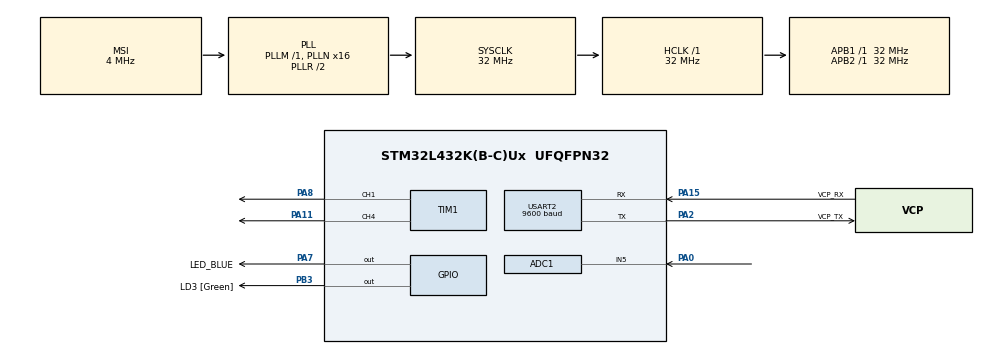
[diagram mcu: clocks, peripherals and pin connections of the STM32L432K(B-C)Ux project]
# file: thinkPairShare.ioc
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ADC1.Channel-0\#ChannelRegularConversion=ADC_CHANNEL_5
ADC1.NbrOfConversionFlag=1
ADC1.OffsetNumber-0\#ChannelRegularConversion=ADC_OFFSET_NONE
ADC1.Rank-0\#ChannelRegularConversion=1
ADC1.SamplingTime-0\#ChannelRegularConversion=ADC_SAMPLETIME_2CYCLES_5
ADC1.master=1
Mcu.Family=STM32L4
Mcu.Name=STM32L432K(B-C)Ux
Mcu.Package=UFQFPN32
NVIC.PriorityGroup=NVIC_PRIORITYGROUP_4
PA0-CK_IN.Signal=ADCx_IN5
PA11.Signal=S_TIM1_CH4
PA13\ (JTMS-SWDIO).GPIO_Label=SWDIO
PA13\ (JTMS-SWDIO).Signal=SYS_JTMS-SWDIO
PA14\ (JTCK-SWCLK).GPIO_Label=SWCLK
PA14\ (JTCK-SWCLK).Signal=SYS_JTCK-SWCLK
PA15\ (JTDI).GPIO_Label=VCP_RX
PA15\ (JTDI).Mode=Asynchronous
PA15\ (JTDI).Signal=USART2_RX
PA2.GPIO_Label=VCP_TX
PA2.Mode=Asynchronous
PA2.Signal=USART2_TX
PA7.GPIO_Label=LED_BLUE
PA7.Signal=GPIO_Output
PA8.Signal=S_TIM1_CH1
PB3\ (JTDO-TRACESWO).GPIO_Label=LD3 [Green]
PB3\ (JTDO-TRACESWO).Signal=GPIO_Output
PC14-OSC32_IN\ (PC14).Signal=RCC_OSC32_IN
PC15-OSC32_OUT\ (PC15).Signal=RCC_OSC32_OUT
ProjectManager.HeapSize=0x200
ProjectManager.StackSize=0x400
ProjectManager.TargetToolchain=TrueSTUDIO
RCC.ADCFreq_Value=32000000
RCC.AHBFreq_Value=32000000
RCC.APB1Freq_Value=32000000
RCC.APB1TimFreq_Value=32000000
RCC.APB2Freq_Value=32000000
RCC.APB2TimFreq_Value=32000000
RCC.CortexFreq_Value=32000000
RCC.HCLKFreq_Value=32000000
RCC.HSE_VALUE=8000000
RCC.HSI16_VALUE=16000000
RCC.HSI48_VALUE=48000000
RCC.HSI_VALUE=16000000
RCC.LSE_VALUE=32768
RCC.MSI_VALUE=4000000
RCC.PLLMUL=RCC_PLLMUL_4
RCC.PLLN=16
RCC.PLLSAI1N=16
RCC.SYSCLKFreq_VALUE=32000000
RCC.SYSCLKSource=RCC_SYSCLKSOURCE_PLLCLK
RCC.USBFreq_Value=32000000
RCC.VCOOutputFreq_Value=64000000
SH.ADCx_IN5.0=ADC1_IN5,IN5-Single-Ended
SH.S_TIM1_CH1.0=TIM1_CH1,PWM Generation1 CH1
SH.S_TIM1_CH4.0=TIM1_CH4,PWM Generation4 CH4
TIM1.Channel-PWM\ Generation1\ CH1=TIM_CHANNEL_1
TIM1.Channel-PWM\ Generation4\ CH4=TIM_CHANNEL_4
USART2.BaudRate=9600
USART2.VirtualMode-Asynchronous=VM_ASYNC
USART2.WordLength=WORDLENGTH_8B
board=NUCLEO-L432KC

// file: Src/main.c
/*
 *  FILE          : main.c
 *  PROJECT       : Assignment3
 *  PROGRAMMER    : Manu Murali Student
 *  FIRST VERSION : 2017-07-06
 *  DESCRIPTION   :
 *    Temperature sensor MCP7000A is used to measure the temperature and
 *    display the temperature with one decimal point in the top right corner
 *    of the LCD. It also illuminate RGB LED with the specified color for
 *    the given temperature ranges.
 *    -15 C  to 5.0 C   blue
 *    5.1 C to 15.0 C   yellow
 *    15.1 C to 25 C    orange
 *    Above 21.5 C 	   red
 */

#include "main.h"
#include "stm32l4xx_hal.h"

/* USER CODE BEGIN Includes */
#include "string.h"
#include "stdio.h"
#include "time.h"
/* USER CODE END Includes */

ADC_HandleTypeDef hadc1;

TIM_HandleTypeDef htim1;

UART_HandleTypeDef huart2;

/* USER CODE BEGIN PV */
/* Private variables ---------------------------------------------------------*/

/* USER CODE END PV */

void SystemClock_Config(void);
void Error_Handler(void);
static void MX_GPIO_Init(void);
static void MX_ADC1_Init(void);
static void MX_USART2_UART_Init(void);
static void MX_TIM1_Init(void);
void HAL_TIM_MspPostInit(TIM_HandleTypeDef *htim);

/* USER CODE BEGIN PFP */
/* Private function prototypes -----------------------------------------------*/
void HD44780_Init(void);
void HD44780_PutChar(unsigned char c);
void HD44780_PutStr(char *str);
void HD44780_GotoXY(unsigned char x, unsigned char y);
void HD44780_ClrScr(void);
void HD44780_GotoXY(unsigned char x, unsigned char y);
void redLedON();
void yellowLedON();
void orangeLedON();
void blueLedON();
void displayTemperatureInLCD(float);
void startTimer();
float measureTemperature();
/* USER CODE END PFP */

/* USER CODE BEGIN 0 */

//
// FUNCTION      : redLedON()
// DESCRIPTION   :
//	This function will illuminate red LED
// PARAMETERS    :
//	Nothing
// RETURNS       :
//	Nothing
//
void redLedON()
{
	// blue led OFF
	HAL_GPIO_WritePin(LED_BLUE_GPIO_Port, LED_BLUE_Pin, GPIO_PIN_RESET);
	// red led ON
	__HAL_TIM_SET_COMPARE(&htim1, TIM_CHANNEL_4, 60000);
	// green led OFF
	__HAL_TIM_SET_COMPARE(&htim1, TIM_CHANNEL_1, 000);
}

//
// FUNCTION      : orangeLedON()
// DESCRIPTION   :
//	This function will illuminate orange LED
// PARAMETERS    :
//	Nothing
// RETURNS       :
//	Nothing
//
void orangeLedON()
{
	// blue led OFF
	HAL_GPIO_WritePin(LED_BLUE_GPIO_Port, LED_BLUE_Pin, GPIO_PIN_RESET);
	// adjusting voltage of red led
	__HAL_TIM_SET_COMPARE(&htim1, TIM_CHANNEL_4, 50000);
	// adjusting voltage of green led
	__HAL_TIM_SET_COMPARE(&htim1, TIM_CHANNEL_1, 2500);
}

//
// FUNCTION      : yellowLedON()
// DESCRIPTION   :
//	This function will illuminate yellow LED
// PARAMETERS    :
//	Nothing
// RETURNS       :
//	Nothing
//
void yellowLedON()
{
	// blue led OFF
	HAL_GPIO_WritePin(LED_BLUE_GPIO_Port, LED_BLUE_Pin, GPIO_PIN_RESET);
	// adjusting voltage of red led
	__HAL_TIM_SET_COMPARE(&htim1, TIM_CHANNEL_4, 30000);
	// adjusting voltage of green led
	__HAL_TIM_SET_COMPARE(&htim1, TIM_CHANNEL_1, 6000);
}

//
// FUNCTION      : blueLedON()
// DESCRIPTION   :
//	This function will illuminate blue LED
// PARAMETERS    :
//	Nothing
// RETURNS       :
//	Nothing
//
void blueLedON()
{
	// red led OFF
	__HAL_TIM_SET_COMPARE(&htim1, TIM_CHANNEL_4, 000);
	// green led OFF
	__HAL_TIM_SET_COMPARE(&htim1, TIM_CHANNEL_1, 000);
	// blue led ON
	HAL_GPIO_WritePin(LED_BLUE_GPIO_Port, LED_BLUE_Pin, GPIO_PIN_SET);
}

//
// FUNCTION      : displayTemperatureInLCD()
// DESCRIPTION   :
//	This function will display the temperature in the top right corner of LCD
// PARAMETERS    :
//	float		 : Temperature measured using the sensor
// RETURNS       :
//	Nothing
//
void displayTemperatureInLCD(float temperature)
{
	// initializing a default value for stringToDisplay
	char stringToDisplay[16] = "0";
	// converting temperature to string format
	sprintf(stringToDisplay, "% 2.1f\337C", temperature);
	// StringSize: store the size of the string to be displayed on LCD
	// default value chosen as 0
	uint8_t StringSize = 0;
	// calculating the size of the string
	while(stringToDisplay[StringSize] != '\0')
	{
		StringSize++;
	}
	// bringing the cursor to the top right corner of the LCD
	HD44780_GotoXY(16-StringSize, 0);
	// display the temperature in top right corner of LCD
	HD44780_PutStr(stringToDisplay);

}

//
// FUNCTION      : startTimer()
// DESCRIPTION   :
//	This function will start the timer1 channel-4 and channel-1
// PARAMETERS    :
//	Nothing
// RETURNS       :
//	Nothing
//
void startTimer()
{
	HAL_TIM_PWM_Start(&htim1, TIM_CHANNEL_4);
	HAL_TIM_PWM_Start(&htim1, TIM_CHANNEL_1);
}

//
// FUNCTION      : measureTemperature()
// DESCRIPTION   :
//	This function will measure the temperature using the value received
//  from ADC
// PARAMETERS    :
//	Nothing
// RETURNS       :
//	float		 : temperature, the measured temperature
//
float measureTemperature()
{
	// variable declaration and initialization
	uint16_t ADCValue = 0;
	float VoltageValue = 0.0;
	float temperature = 0.0;
	// read value of ADC which corresponds to the temperature sensor output
	ADCValue = HAL_ADC_GetValue(&hadc1);
	// computes the voltage value corresponding to the received ADC value
	VoltageValue = (ADCValue *3.3) / 4095;
	// computes the temperature using voltage
	temperature = (VoltageValue - 0.5) /0.010;
	return temperature;
}
/* USER CODE END 0 */

int main(void)
{
	/* USER CODE BEGIN 1 */
	// default value chosen as 0.0
	float temperature = 0.0;

	/* USER CODE END 1 */

	/* MCU Configuration----------------------------------------------------------*/

	/* Reset of all peripherals, Initializes the Flash interface and the Systick. */
	HAL_Init();

	/* Configure the system clock */
	SystemClock_Config();

	/* Initialize all configured peripherals */
	MX_GPIO_Init();
	MX_ADC1_Init();
	MX_USART2_UART_Init();
	MX_TIM1_Init();

	/* USER CODE BEGIN 2 */
	HD44780_Init();
	startTimer();

	/* USER CODE END 2 */

	/* Infinite loop */
	while (1)
	{

		/* USER CODE BEGIN 3 */
		// calibrating ADC
		HAL_ADCEx_Calibration_Start(&hadc1,ADC_SINGLE_ENDED);

		if(HAL_ADC_Start(&hadc1) != HAL_OK)
		{
			printf("\r\nError in ADC Start \r\n");
		}
		if(HAL_ADC_PollForConversion(&hadc1, 10))
		{
			printf("\r\nError in ADC Timeout \r\n");
		}
		else
		{
			// read the ADC value and measures the temperature
			temperature = measureTemperature();
		}
		// display the measured temperature value in LCD
		displayTemperatureInLCD(temperature);
		// checking the range at which the measured temperature lies and
		// illuminate the required color in LED based on the temperature
		// measured using the sensor
		if(temperature > 25.0)
		{
			redLedON();
		}
		else if(temperature > 15.0)
		{
			orangeLedON();
		}
		else if(temperature > 5.0)
		{
			yellowLedON();
		}
		else
		{
			blueLedON();
		}
	}
	/* USER CODE END 3 */
}

/** System Clock Configuration
 */
void SystemClock_Config(void)
{

	RCC_OscInitTypeDef RCC_OscInitStruct;
	RCC_ClkInitTypeDef RCC_ClkInitStruct;
	RCC_PeriphCLKInitTypeDef PeriphClkInit;

	/**Initializes the CPU, AHB and APB busses clocks
	 */
	RCC_OscInitStruct.OscillatorType = RCC_OSCILLATORTYPE_MSI;
	RCC_OscInitStruct.MSIState = RCC_MSI_ON;
	RCC_OscInitStruct.MSICalibrationValue = 0;
	RCC_OscInitStruct.MSIClockRange = RCC_MSIRANGE_6;
	RCC_OscInitStruct.PLL.PLLState = RCC_PLL_ON;
	RCC_OscInitStruct.PLL.PLLSource = RCC_PLLSOURCE_MSI;
	RCC_OscInitStruct.PLL.PLLM = 1;
	RCC_OscInitStruct.PLL.PLLN = 16;
	RCC_OscInitStruct.PLL.PLLP = RCC_PLLP_DIV7;
	RCC_OscInitStruct.PLL.PLLQ = RCC_PLLQ_DIV2;
	RCC_OscInitStruct.PLL.PLLR = RCC_PLLR_DIV2;
	if (HAL_RCC_OscConfig(&RCC_OscInitStruct) != HAL_OK)
	{
		Error_Handler();
	}

	/**Initializes the CPU, AHB and APB busses clocks
	 */
	RCC_ClkInitStruct.ClockType = RCC_CLOCKTYPE_HCLK|RCC_CLOCKTYPE_SYSCLK
			|RCC_CLOCKTYPE_PCLK1|RCC_CLOCKTYPE_PCLK2;
	RCC_ClkInitStruct.SYSCLKSource = RCC_SYSCLKSOURCE_PLLCLK;
	RCC_ClkInitStruct.AHBCLKDivider = RCC_SYSCLK_DIV1;
	RCC_ClkInitStruct.APB1CLKDivider = RCC_HCLK_DIV1;
	RCC_ClkInitStruct.APB2CLKDivider = RCC_HCLK_DIV1;

	if (HAL_RCC_ClockConfig(&RCC_ClkInitStruct, FLASH_LATENCY_1) != HAL_OK)
	{
		Error_Handler();
	}

	PeriphClkInit.PeriphClockSelection = RCC_PERIPHCLK_USART2|RCC_PERIPHCLK_ADC;
	PeriphClkInit.Usart2ClockSelection = RCC_USART2CLKSOURCE_PCLK1;
	PeriphClkInit.AdcClockSelection = RCC_ADCCLKSOURCE_PLLSAI1;
	PeriphClkInit.PLLSAI1.PLLSAI1Source = RCC_PLLSOURCE_MSI;
	PeriphClkInit.PLLSAI1.PLLSAI1M = 1;
	PeriphClkInit.PLLSAI1.PLLSAI1N = 16;
	PeriphClkInit.PLLSAI1.PLLSAI1P = RCC_PLLP_DIV7;
	PeriphClkInit.PLLSAI1.PLLSAI1Q = RCC_PLLQ_DIV2;
	PeriphClkInit.PLLSAI1.PLLSAI1R = RCC_PLLR_DIV2;
	PeriphClkInit.PLLSAI1.PLLSAI1ClockOut = RCC_PLLSAI1_ADC1CLK;
	if (HAL_RCCEx_PeriphCLKConfig(&PeriphClkInit) != HAL_OK)
	{
		Error_Handler();
	}

	/**Configure the main internal regulator output voltage
	 */
	if (HAL_PWREx_ControlVoltageScaling(PWR_REGULATOR_VOLTAGE_SCALE1) != HAL_OK)
	{
		Error_Handler();
	}

	/**Configure the Systick interrupt time
	 */
	HAL_SYSTICK_Config(HAL_RCC_GetHCLKFreq()/1000);

	/**Configure the Systick
	 */
	HAL_SYSTICK_CLKSourceConfig(SYSTICK_CLKSOURCE_HCLK);

	/* SysTick_IRQn interrupt configuration */
	HAL_NVIC_SetPriority(SysTick_IRQn, 0, 0);
}

/* ADC1 init function */
static void MX_ADC1_Init(void)
{

	ADC_ChannelConfTypeDef sConfig;

	/**Common config
	 */
	hadc1.Instance = ADC1;
	hadc1.Init.ClockPrescaler = ADC_CLOCK_ASYNC_DIV1;
	hadc1.Init.Resolution = ADC_RESOLUTION_12B;
	hadc1.Init.DataAlign = ADC_DATAALIGN_RIGHT;
	hadc1.Init.ScanConvMode = ADC_SCAN_DISABLE;
	hadc1.Init.EOCSelection = ADC_EOC_SINGLE_CONV;
	hadc1.Init.LowPowerAutoWait = DISABLE;
	hadc1.Init.ContinuousConvMode = DISABLE;
	hadc1.Init.NbrOfConversion = 1;
	hadc1.Init.DiscontinuousConvMode = DISABLE;
	hadc1.Init.NbrOfDiscConversion = 1;
	hadc1.Init.ExternalTrigConv = ADC_SOFTWARE_START;
	hadc1.Init.ExternalTrigConvEdge = ADC_EXTERNALTRIGCONVEDGE_NONE;
	hadc1.Init.DMAContinuousRequests = DISABLE;
	hadc1.Init.Overrun = ADC_OVR_DATA_PRESERVED;
	hadc1.Init.OversamplingMode = DISABLE;
	if (HAL_ADC_Init(&hadc1) != HAL_OK)
	{
		Error_Handler();
	}

	/**Configure Regular Channel
	 */
	sConfig.Channel = ADC_CHANNEL_5;
	sConfig.Rank = 1;
	sConfig.SamplingTime = ADC_SAMPLETIME_2CYCLES_5;
	sConfig.SingleDiff = ADC_SINGLE_ENDED;
	sConfig.OffsetNumber = ADC_OFFSET_NONE;
	sConfig.Offset = 0;
	if (HAL_ADC_ConfigChannel(&hadc1, &sConfig) != HAL_OK)
	{
		Error_Handler();
	}

}

/* TIM1 init function */
static void MX_TIM1_Init(void)
{

	TIM_MasterConfigTypeDef sMasterConfig;
	TIM_OC_InitTypeDef sConfigOC;
	TIM_BreakDeadTimeConfigTypeDef sBreakDeadTimeConfig;

	htim1.Instance = TIM1;
	htim1.Init.Prescaler = 0;
	htim1.Init.CounterMode = TIM_COUNTERMODE_UP;
	htim1.Init.Period = 60000;
	htim1.Init.ClockDivision = TIM_CLOCKDIVISION_DIV1;
	htim1.Init.RepetitionCounter = 0;
	if (HAL_TIM_PWM_Init(&htim1) != HAL_OK)
	{
		Error_Handler();
	}

	sMasterConfig.MasterOutputTrigger = TIM_TRGO_RESET;
	sMasterConfig.MasterOutputTrigger2 = TIM_TRGO2_RESET;
	sMasterConfig.MasterSlaveMode = TIM_MASTERSLAVEMODE_DISABLE;
	if (HAL_TIMEx_MasterConfigSynchronization(&htim1, &sMasterConfig) != HAL_OK)
	{
		Error_Handler();
	}

	sConfigOC.OCMode = TIM_OCMODE_PWM1;
	sConfigOC.Pulse = 0;
	sConfigOC.OCPolarity = TIM_OCPOLARITY_HIGH;
	sConfigOC.OCNPolarity = TIM_OCNPOLARITY_HIGH;
	sConfigOC.OCFastMode = TIM_OCFAST_DISABLE;
	sConfigOC.OCIdleState = TIM_OCIDLESTATE_RESET;
	sConfigOC.OCNIdleState = TIM_OCNIDLESTATE_RESET;
	if (HAL_TIM_PWM_ConfigChannel(&htim1, &sConfigOC, TIM_CHANNEL_1) != HAL_OK)
	{
		Error_Handler();
	}

	if (HAL_TIM_PWM_ConfigChannel(&htim1, &sConfigOC, TIM_CHANNEL_4) != HAL_OK)
	{
		Error_Handler();
	}

	sBreakDeadTimeConfig.OffStateRunMode = TIM_OSSR_DISABLE;
	sBreakDeadTimeConfig.OffStateIDLEMode = TIM_OSSI_DISABLE;
	sBreakDeadTimeConfig.LockLevel = TIM_LOCKLEVEL_OFF;
	sBreakDeadTimeConfig.DeadTime = 0;
	sBreakDeadTimeConfig.BreakState = TIM_BREAK_DISABLE;
	sBreakDeadTimeConfig.BreakPolarity = TIM_BREAKPOLARITY_HIGH;
	sBreakDeadTimeConfig.BreakFilter = 0;
	sBreakDeadTimeConfig.Break2State = TIM_BREAK2_DISABLE;
	sBreakDeadTimeConfig.Break2Polarity = TIM_BREAK2POLARITY_HIGH;
	sBreakDeadTimeConfig.Break2Filter = 0;
	sBreakDeadTimeConfig.AutomaticOutput = TIM_AUTOMATICOUTPUT_DISABLE;
	if (HAL_TIMEx_ConfigBreakDeadTime(&htim1, &sBreakDeadTimeConfig) != HAL_OK)
	{
		Error_Handler();
	}

	HAL_TIM_MspPostInit(&htim1);

}

/* USART2 init function */
static void MX_USART2_UART_Init(void)
{

	huart2.Instance = USART2;
	huart2.Init.BaudRate = 9600;
	huart2.Init.WordLength = UART_WORDLENGTH_8B;
	huart2.Init.StopBits = UART_STOPBITS_1;
	huart2.Init.Parity = UART_PARITY_NONE;
	huart2.Init.Mode = UART_MODE_TX_RX;
	huart2.Init.HwFlowCtl = UART_HWCONTROL_NONE;
	huart2.Init.OverSampling = UART_OVERSAMPLING_16;
	huart2.Init.OneBitSampling = UART_ONE_BIT_SAMPLE_DISABLE;
	huart2.AdvancedInit.AdvFeatureInit = UART_ADVFEATURE_NO_INIT;
	if (HAL_UART_Init(&huart2) != HAL_OK)
	{
		Error_Handler();
	}

}

/** Configure pins as
 * Analog
 * Input
 * Output
 * EVENT_OUT
 * EXTI
 */
static void MX_GPIO_Init(void)
{

	GPIO_InitTypeDef GPIO_InitStruct;

	/* GPIO Ports Clock Enable */
	__HAL_RCC_GPIOC_CLK_ENABLE();
	__HAL_RCC_GPIOA_CLK_ENABLE();
	__HAL_RCC_GPIOB_CLK_ENABLE();

	/*Configure GPIO pin Output Level */
	HAL_GPIO_WritePin(LED_BLUE_GPIO_Port, LED_BLUE_Pin, GPIO_PIN_RESET);

	/*Configure GPIO pin Output Level */
	HAL_GPIO_WritePin(LD3_GPIO_Port, LD3_Pin, GPIO_PIN_RESET);

	/*Configure GPIO pin : LED_BLUE_Pin */
	GPIO_InitStruct.Pin = LED_BLUE_Pin;
	GPIO_InitStruct.Mode = GPIO_MODE_OUTPUT_PP;
	GPIO_InitStruct.Pull = GPIO_NOPULL;
	GPIO_InitStruct.Speed = GPIO_SPEED_FREQ_LOW;
	HAL_GPIO_Init(LED_BLUE_GPIO_Port, &GPIO_InitStruct);

	/*Configure GPIO pin : LD3_Pin */
	GPIO_InitStruct.Pin = LD3_Pin;
	GPIO_InitStruct.Mode = GPIO_MODE_OUTPUT_PP;
	GPIO_InitStruct.Pull = GPIO_NOPULL;
	GPIO_InitStruct.Speed = GPIO_SPEED_FREQ_LOW;
	HAL_GPIO_Init(LD3_GPIO_Port, &GPIO_InitStruct);

}

void Error_Handler(void)
{
	while(1)
	{
	}
}

/************************ (C) COPYRIGHT STMicroelectronics *****END OF FILE****/
